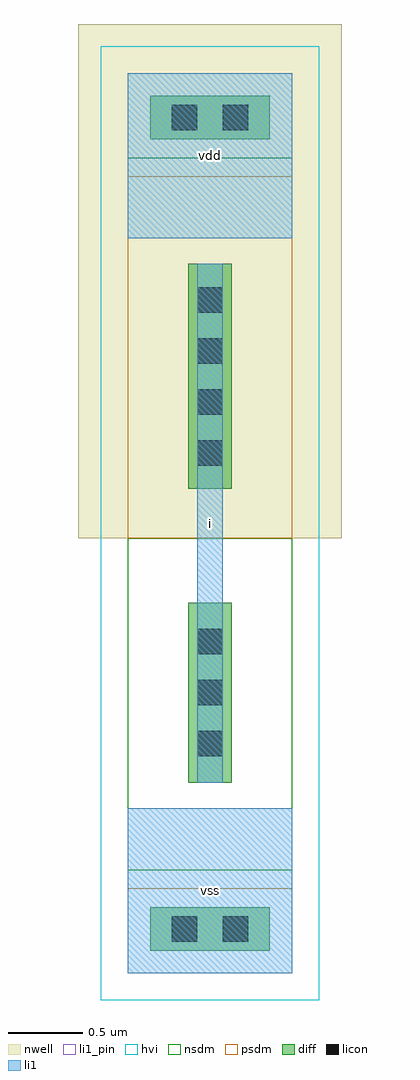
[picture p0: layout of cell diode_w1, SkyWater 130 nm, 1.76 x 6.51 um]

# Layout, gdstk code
import gdstk
lib = gdstk.Library(unit=1e-6, precision=1e-09)
def R(c, l, rs):  # rectangles x0, y0, x1, y1
    for r in rs: c.add(gdstk.rectangle(r[:2], r[2:], *l))
def A(c, l, x, y, w, h, nx, ny, dx, dy):  # array of equal rectangles
    R(c, l, [(x+i*dx, y+j*dy, x+i*dx+w, y+j*dy+h) for i in range(nx) for j in range(ny)])
nwell = (64, 20)
diff = (65, 20)
licon = (66, 44)
li1_pin = (67, 16)
li1 = (67, 20)
hvi = (75, 20)
nsdm = (93, 44)
psdm = (94, 20)

diode_w1 = lib.new_cell('diode_w1')
R(diode_w1, nwell, [(-0.33,2.9,1.43,6.33)])
R(diode_w1, diff, [(0.15,0.15,0.95,0.44), (0.405,1.27,0.695,2.47), (0.405,3.23,0.695,4.73), (0.15,5.56,0.95,5.85)])
A(diode_w1, licon, 0.465, 1.445, 0.17, 0.17, 1, 3, 0, 0.34)
A(diode_w1, licon, 0.465, 3.385, 0.17, 0.17, 1, 4, 0, 0.34)
R(diode_w1, licon, [(0.295,0.21,0.465,0.38), (0.635,0.21,0.805,0.38), (0.295,5.62,0.465,5.79), (0.635,5.62,0.805,5.79)])
R(diode_w1, li1_pin, [(0,0,1.1,1.1), (0.465,1.27,0.635,4.73), (0,4.9,1.1,6)])
R(diode_w1, li1, [(0,0,1.1,1.1), (0.465,1.27,0.635,4.73), (0,4.9,1.1,6)])
R(diode_w1, hvi, [(-0.18,-0.18,1.28,6.18)])
R(diode_w1, nsdm, [(0,0.685,1.1,2.9), (0,5.435,1.1,6)])
R(diode_w1, psdm, [(0,0,1.1,0.565), (0,2.9,1.1,5.315)])
diode_w1.add(gdstk.Label('vdd', (0.55,5.45), layer=67, texttype=16))
diode_w1.add(gdstk.Label('vss', (0.55,0.55), layer=67, texttype=16))
diode_w1.add(gdstk.Label('i', (0.55,3), layer=67, texttype=16))

lib.write_gds('diode_w1.gds')
